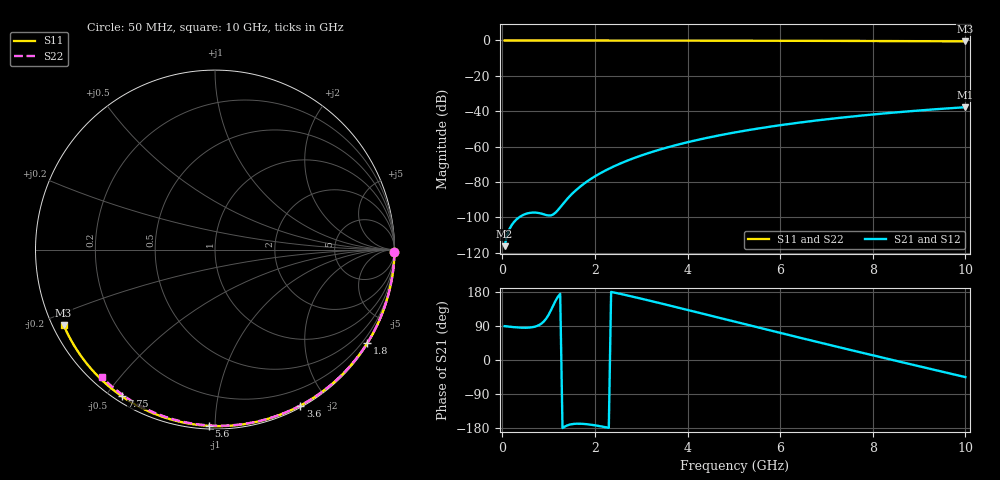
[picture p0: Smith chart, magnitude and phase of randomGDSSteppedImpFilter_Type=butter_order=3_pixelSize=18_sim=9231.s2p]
! freq	dB(S11)	phase(S11)	dB(S12)	phase(S12)
!  dB(S21)	phase(S21)	dB(S22)	phase(S22)
!S-par simulation data
#  GHz  S  DB  R 50
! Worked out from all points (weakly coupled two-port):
!   200 points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, 50 MHz to 10 GHz, reference 50 ohm
!   highest |S21| = -37.71 dB at 10 GHz (marker M1); lowest = -116.2 dB at 50 MHz (marker M2)
!   lowest |S11| = -0.5 dB at 10 GHz (marker M3), VSWR 33.60, Z = 1.57 - j11.8 ohm
!   |S11| at or under -10 dB: nowhere
!   |S22| runs from -0.4 to 0.0 dB; largest |S21 - S12| = 0
!   S11 on the Smith chart (normalised r, x): 50 MHz: open; 1.8 GHz: 0.03, -3.55; 3.6 GHz: 0.02, -1.69; 5.6 GHz: 0.02, -0.97; 7.75 GHz: 0.02, -0.55; 10 GHz: 0.03, -0.24
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0.05  -0.00 -0.9  -116.22 89.3  -116.22 89.3  -0.00 -0.8
0.45  -0.01 -8.0  -98.59 85.1  -98.59 85.1  -0.01 -6.8
0.9  -0.02 -15.9  -98.27 102.1  -98.27 102.1  -0.02 -13.6
1.3  -0.03 -22.9  -92.65 -179.7  -92.65 -179.7  -0.02 -19.6
1.75  -0.04 -30.6  -81.19 -168.6  -81.19 -168.6  -0.03 -26.2
1.8  -0.04 -31.5  -80.23 -169.1  -80.23 -169.1  -0.03 -27.0
2.15  -0.05 -37.4  -74.54 -175.5  -74.54 -175.5  -0.04 -32.1
2.5  -0.06 -43.3  -70.08 175.8  -70.08 175.8  -0.05 -37.2
2.9  -0.06 -50.0  -65.92 164.8  -65.92 164.8  -0.06 -42.9
3.4  -0.08 -58.1  -61.66 150.1  -61.66 150.1  -0.07 -50.0
3.6  -0.08 -61.3  -60.18 144.2  -60.18 144.2  -0.07 -52.7
3.9  -0.09 -66.1  -58.13 135.1  -58.13 135.1  -0.08 -56.9
4.3  -0.10 -72.4  -55.70 123.0  -55.70 123.0  -0.09 -62.3
5.05  -0.13 -83.8  -51.83 100.3  -51.83 100.3  -0.11 -72.3
5.6  -0.15 -92.0  -49.44 83.6  -49.44 83.6  -0.13 -79.4
6.15  -0.18 -100.0  -47.34 67.1  -47.34 67.1  -0.15 -86.4
6.7  -0.21 -107.8  -45.47 50.6  -45.47 50.6  -0.18 -93.2
7.2  -0.24 -114.9  -43.96 35.8  -43.96 35.8  -0.21 -99.2
7.75  -0.28 -122.5  -42.45 19.7  -42.45 19.7  -0.24 -105.8
8.35  -0.34 -130.7  -40.98 2.3  -40.98 2.3  -0.29 -112.8
9.2  -0.42 -142.4  -39.17 -22.2  -39.17 -22.2  -0.36 -122.5
10  -0.52 -153.5  -37.71 -45.2  -37.71 -45.2  -0.45 -131.6
